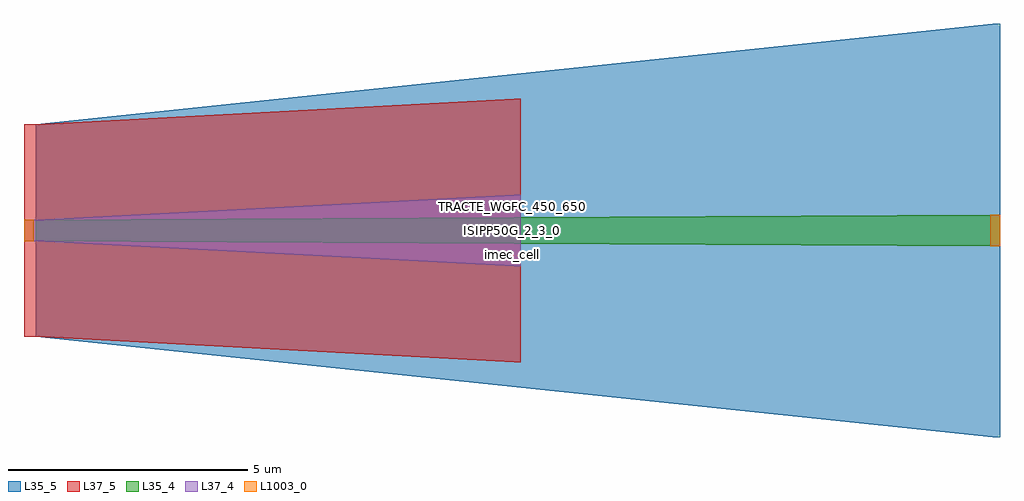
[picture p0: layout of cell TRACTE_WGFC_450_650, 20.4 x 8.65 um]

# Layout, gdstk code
import gdstk
lib = gdstk.Library(unit=1e-6, precision=1e-09)
def R(c, l, rs):  # rectangles x0, y0, x1, y1
    for r in rs: c.add(gdstk.rectangle(r[:2], r[2:], *l))
def P(c, l, *ps):  # polygons
    for p in ps: c.add(gdstk.Polygon(p, *l))
L35_4 = (35, 4)
L35_5 = (35, 5)
L37_4 = (37, 4)
L37_5 = (37, 5)
L1003_0 = (1003, 0)

tracte_wgfc_450_650_1 = lib.new_cell('TRACTE_WGFC_450_650_1')
R(tracte_wgfc_450_650_1, L37_4, [(0,-0.225,0.1,0.225)])
R(tracte_wgfc_450_650_1, L37_5, [(0,-2.225,0.1,2.225)])

tracte_wgfc_450_650 = lib.new_cell('TRACTE_WGFC_450_650')
R(tracte_wgfc_450_650, L35_4, [(20.1,-0.325,20.25,0.325)])
P(tracte_wgfc_450_650, L35_4, [(20.1,-0.325),(0.1,-0.225),(0.1,0.225),(20.1,0.325)])
R(tracte_wgfc_450_650, L35_5, [(20.1,-4.325,20.25,4.325)])
P(tracte_wgfc_450_650, L35_5, [(20.1,-4.325),(0.1,-2.225),(0.1,2.225),(20.1,4.325)])
R(tracte_wgfc_450_650, L37_4, [(-0.15,-0.225,0,0.225)])
P(tracte_wgfc_450_650, L37_4, [(10.1,-0.75),(0.1,-0.225),(0.1,0.225),(10.1,0.75),(10.23,0.75),(10.23,-0.75)])
R(tracte_wgfc_450_650, L37_5, [(-0.15,-2.225,0,2.225)])
P(tracte_wgfc_450_650, L37_5, [(10.1,-2.75),(0.1,-2.225),(0.1,2.225),(10.1,2.75),(10.23,2.75),(10.23,-2.75)])
R(tracte_wgfc_450_650, L1003_0, [(20.05,-0.325,20.1,0.325), (20.1,-0.325,20.25,0.325), (-0.15,-0.225,0,0.225), (0,-0.225,0.05,0.225)])
tracte_wgfc_450_650.add(gdstk.Reference(tracte_wgfc_450_650_1, (0,0)))
tracte_wgfc_450_650.add(gdstk.Label('TRACTE_WGFC_450_650', (10.05,0.5), layer=1002, texttype=0))
tracte_wgfc_450_650.add(gdstk.Label('ISIPP50G_2_3_0', (10.05,0), layer=1002, texttype=0))
tracte_wgfc_450_650.add(gdstk.Label('imec_cell', (10.05,-0.5), layer=1002, texttype=0))

lib.write_gds('TRACTE_WGFC_450_650.gds')
